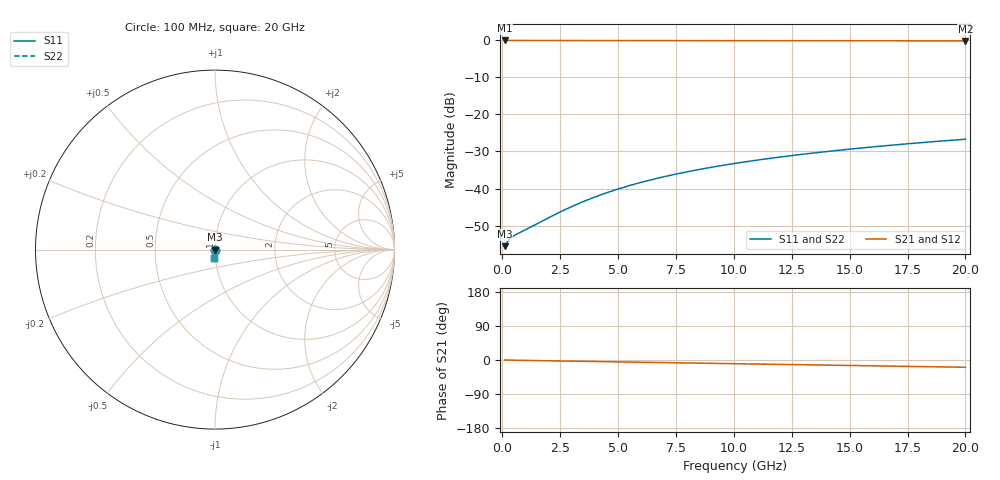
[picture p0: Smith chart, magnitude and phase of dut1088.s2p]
! Touchstone file exported from HFSS 2026.1.0
!  File:  C:/ffzhzh/LocalFiles/Ansys_Project_Files/temp_train_BSMRDL_1088_1783174576_55132.aedt
!  Generated:  10:17:21 PM Jul  4, 2026
!  Design:  BSMRDL
!  Project:  temp_train_BSMRDL_1088_1783174576_55132
! Variables:
!  h_bsmrdl = 5.84um
!  h_ox = 20um
!  h_rdl = 5um
!  h_sub = 80um
!  h_tmrdl = 5um
!  h_tsv = 80um
!  h_via = 3um
!  l_bsmrdl = 344.72um
!  l_sub = 744.72um
!  l_tmrdl = 200um
!  m_sub = 200um
!  pitch = 17.34um
!  r_tsv = 6um
!  s_tmrdl = 10um
!  w_bsmrdl = 13.97um
!  w_sub = 500um
!  w_tmrdl = 12um
!  x_tsv_center1 = 206um
!  x_tsv_center2 = 564.69um
!  x_tsv_center3 = 776.69um
!  x_tsv_center4 = 1135.38um
!  x_tsv_center5 = 1347.38um
!  x_tsv_center6 = 1706.07um
# GHz S MA R 50.000000
! Terminal data exported
! Port[1] = BSM_RDL1_1_T1
! Port[2] = BSM_RDL1_1_T2
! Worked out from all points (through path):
!   200 points, 100 MHz to 20 GHz, reference 50 ohm
!   highest |S21| = -0.01 dB at 100 MHz (marker M1); lowest = -0.1 dB at 20 GHz (marker M2)
!   group delay of S21, straight-line fit = 2.65 ps
!   lowest |S11| = -55.6 dB at 100 MHz (marker M3), VSWR 1.00, Z = 50.2 + j0.0157 ohm
!   |S11| at or under -10 dB: start of sweep to end of sweep
!   |S22| runs from -55.6 to -26.7 dB; largest |S21 - S12| = 3.3e-15
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0.1  0.001666 5.4  0.9983 -0.1  0.9983 -0.1  0.001666 5.4
! Gamma 0 0 0 0
! Port Impedance 50 0 50 0
0.2  0.001865 5.7  0.9981 -0.2  0.9981 -0.2  0.001865 5.7
0.3  0.002045 2.8  0.998 -0.3  0.998 -0.3  0.002045 2.8
0.4  0.002186 -1.0  0.9978 -0.4  0.9978 -0.4  0.002186 -1.0
0.6  0.002399 -8.6  0.9976 -0.6  0.9976 -0.6  0.002399 -8.6
2.4  0.004657 -43.9  0.9965 -2.4  0.9965 -2.4  0.004657 -43.9
3  0.00571 -49.3  0.996 -3.0  0.996 -3.0  0.00571 -49.2
3.5  0.006668 -52.8  0.9956 -3.5  0.9956 -3.5  0.006669 -52.8
4.2  0.008106 -57.0  0.9951 -4.2  0.9951 -4.2  0.008107 -57.0
5  0.009849 -60.9  0.9944 -5.0  0.9944 -5.0  0.00985 -60.9
5.9  0.0119 -64.7  0.9938 -5.8  0.9938 -5.8  0.0119 -64.7
6.8  0.014 -68.0  0.9932 -6.7  0.9932 -6.7  0.014 -68.0
7.5  0.01567 -70.2  0.9927 -7.4  0.9927 -7.4  0.01567 -70.2
8.3  0.01759 -72.6  0.9922 -8.1  0.9922 -8.1  0.01759 -72.5
9.2  0.01977 -74.9  0.9917 -9.0  0.9917 -9.0  0.01977 -74.9
10.1  0.02196 -77.1  0.9912 -9.8  0.9912 -9.8  0.02197 -77.1
11.7  0.02588 -80.5  0.9904 -11.4  0.9904 -11.4  0.02589 -80.5
13.4  0.03006 -83.7  0.9896 -13.0  0.9896 -13.0  0.03007 -83.7
15  0.03401 -86.5  0.9888 -14.5  0.9888 -14.5  0.03402 -86.5
16.7  0.0382 -89.2  0.988 -16.1  0.988 -16.1  0.03822 -89.1
18.3  0.04215 -91.5  0.9873 -17.6  0.9873 -17.6  0.04216 -91.5
20  0.04632 -93.9  0.9865 -19.2  0.9865 -19.2  0.04634 -93.9
